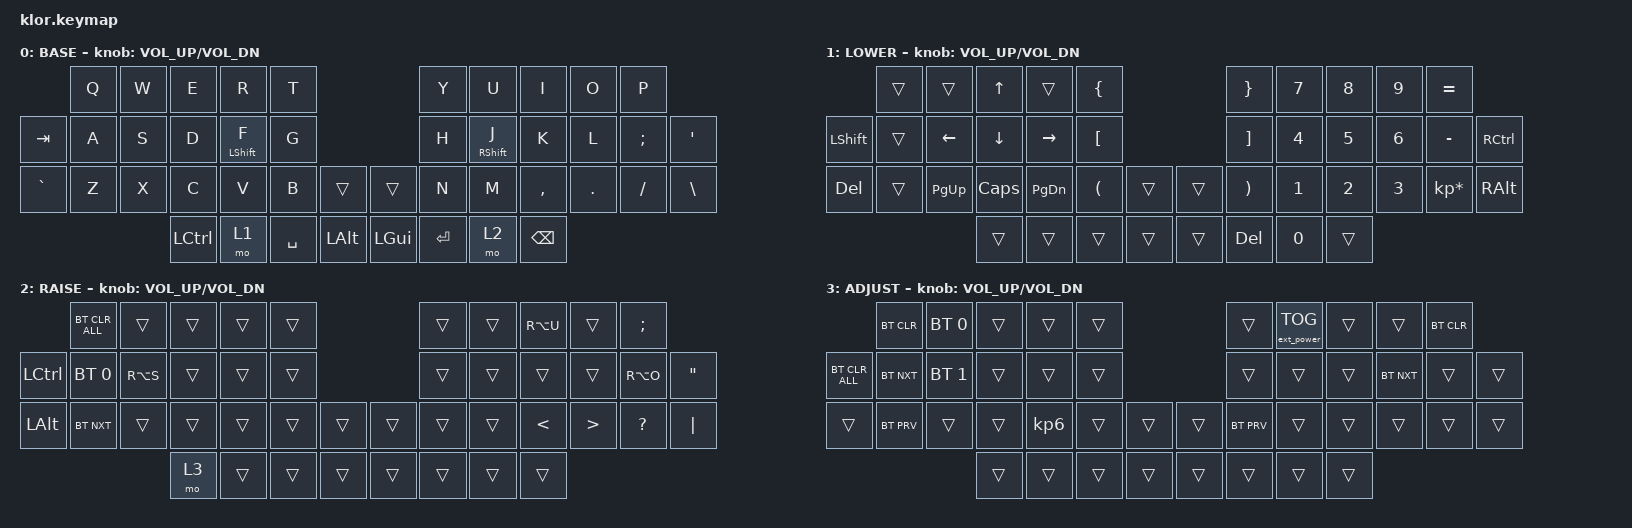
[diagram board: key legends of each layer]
//                               █         █    █            ▄▄▄▀▀▀▀▀▀▄▄▄        █▀▀▀▀▀▀▀▀▀▀█
//                               █        █     █          ▄▀            ▀▄      █          █
//                               █       █      █        ▄▀                ▀▄    █          █
//                               █      █       █        █                  █    █          █
//                               █     █        █       █                    █   █          █
//                               █    █         █       █                    █   █▄▄▄▄▄▄▄▄▄▄█
//                               █   █ █        █       █                    █   █      █
//                               █  █   █       █        █                  █    █       █
//                               █ █     █      █        ▀▄                ▄▀    █        █
//                               ██       █     █          ▀▄            ▄▀      █         █
//                               █         █    █▄▄▄▄▄▄▄▄    ▀▀▀▄▄▄▄▄▄▀▀▀        █          █
//
// ▄▄▄▄▄▄▄▄▄▄▄▄▄▄▄▄▄▄▄▄▄▄▄▄▄▄▄▄▄▄▄▄▄▄▄▄▄▄▄▄▄▄▄▄▄▄▄▄▄▄▄▄▄▄▄▄▄▄▄▄▄▄▄▄▄▄▄▄▄▄▄▄▄▄▄▄▄▄▄▄▄▄▄▄▄▄▄▄▄▄▄▄▄▄▄▄▄▄▄▄▄▄▄▄▄▄▄▄▄▄▄▄▄▄▄▄▄▄▄▄▄▄▄▄▄

#include <behaviors.dtsi>
#include <dt-bindings/zmk/bt.h>
#include <dt-bindings/zmk/ext_power.h>
#include <dt-bindings/zmk/keys.h>

#define BASE   0
#define LOWER  1
#define RAISE  2
#define ADJUST 3

/ {
    behaviors {
        hm: homerow_mods {
            compatible = "zmk,behavior-hold-tap";
            label = "HOMEROW_MODS";
            #binding-cells = <2>;
            tapping-term-ms = <150>;
            quick_tap_ms = <0>;
            flavor = "tap-preferred";
            bindings = <&kp>, <&kp>;
        };
    };

    combos {
        compatible = "zmk,combos";

        combo_esc {
            timeout-ms = <50>;
            key-positions = <0 1>;
            bindings = <&kp ESC>;
        };

        reset_bootloader {
            bindings = <&bootloader>;
            key-positions = <8 9 20 19>;
        };
    };

    keymap {
        compatible = "zmk,keymap";

        // ▄▄▄▄▄▄▄▄▄▄▄▄▄▄▄▄▄▄▄▄▄▄▄▄▄▄▄▄▄▄▄▄▄▄▄▄▄▄▄▄▄▄▄▄▄▄▄▄▄▄▄▄▄▄▄▄▄▄▄▄▄▄▄▄▄▄▄▄▄▄▄▄▄▄▄▄▄▄▄▄▄▄▄▄▄▄▄▄▄▄▄▄▄▄▄▄▄▄▄▄▄▄▄▄▄▄▄▄▄▄▄▄▄▄▄▄▄▄▄▄▄▄▄▄▄▄▄▄▄▄▄▄▄▄▄▄▄▄▄▄▄▄

        base_layer {
            // ┌───────────────────────────────────────────────────────────┐

            label = "BASE";

            // └───────────────────────────────────────────────────────────┘
            /*           ┌─────────┬─────────┬─────────┬─────────┬─────────┐                    ┌─────────┬─────────┬─────────┬─────────┬─────────┐
             │    Q    │    W    │    F    │    P    │    G    │                    │    J    │    L    │    U    │    Y    │    ;    │   
   ┌─────────┼─────────┼─────────┼─────────┼─────────┼─────────┤                    ├─────────┼─────────┼─────────┼─────────┼─────────┼─────────┐
   │   TAB   │    A    │    R    │    S    │    T    │    D    │                    │    H    │    N    │    E    │    I    │    O    │    "    │
   ├─────────┼─────────┼─────────┼─────────┼─────────┼─────────┤╭────────╮╭────────╮├─────────┼─────────┼─────────┼─────────┼─────────┼─────────┤
   │   DEL   │    Z    │    X    │    C    │    V    │    B    ││  MUTE  ││PLY/PSE ││    K    │    M    │    ,    │    .    │    /    │    \    │
   └─────────┴─────────┴─────────┼─────────┼─────────┼─────────┼╰────────╯╰────────╯┼─────────┼─────────┼─────────┼─────────┴─────────┴─────────┘
                                 │  CTRL   │  LOWER  │  SPACE  │   ALT   ││ CMD/WIN │  ENTER  │  RAISE  │  BSPCE  │  
                                 └─────────┴─────────┴─────────┴─────────┘└─────────┴─────────┴─────────┴─────────┘ */

            bindings = <
           &kp Q  &kp W  &kp E      &kp R             &kp T                          &kp Y    &kp U        &kp I      &kp O    &kp P
&kp TAB    &kp A  &kp S  &kp D      &hm LEFT_SHIFT F  &kp G                          &kp H    &hm RSHFT J  &kp K      &kp L    &kp SEMICOLON  &kp SQT
&kp GRAVE  &kp Z  &kp X  &kp C      &kp V             &kp B      &trans    &trans    &kp N    &kp M        &kp COMMA  &kp DOT  &kp FSLH       &kp BSLH
                         &kp LCTRL  &mo 1             &kp SPACE  &kp LALT  &kp LGUI  &kp RET  &mo 2        &kp BSPC
            >;

            sensor-bindings = <&inc_dec_kp C_VOL_UP C_VOL_DN>;
        };

        // ▄▄▄▄▄▄▄▄▄▄▄▄▄▄▄▄▄▄▄▄▄▄▄▄▄▄▄▄▄▄▄▄▄▄▄▄▄▄▄▄▄▄▄▄▄▄▄▄▄▄▄▄▄▄▄▄▄▄▄▄▄▄▄▄▄▄▄▄▄▄▄▄▄▄▄▄▄▄▄▄▄▄▄▄▄▄▄▄▄▄▄▄▄▄▄▄▄▄▄▄▄▄▄▄▄▄▄▄▄▄▄▄▄▄▄▄▄▄▄▄▄▄▄▄▄▄▄▄▄▄▄▄▄▄▄▄▄▄▄▄▄▄

        lower_layer {
            // ┌───────────────────────────────────────────────────────────┐

            label = "LOWER";

            // └───────────────────────────────────────────────────────────┘
            /*           ┌─────────┬─────────┬─────────┬─────────┬─────────┐                    ┌─────────┬─────────┬─────────┬─────────┬─────────┐
             │         │         │    UP   │         │    {    │                    │    }    │    7    │    8    │    9    │    +    │
   ┌─────────┼─────────┼─────────┼─────────┼─────────┼─────────┤                    ├─────────┼─────────┼─────────┼─────────┼─────────┼─────────┐
   │         │         │   LEFT  │  DOWN   │  RIGHT  │    [    │                    │    ]    │    4    │    5    │    6    │    -    │         │
   ├─────────┼─────────┼─────────┼─────────┼─────────┼─────────┤╭────────╮╭────────╮├─────────┼─────────┼─────────┼─────────┼─────────┼─────────┤
   │         │         │   P UP  │ C LOCK  │ P DOWN  │    (    ││        ││        ││    )    │    1    │    2    │    3    │    *    │         │
   └─────────┴─────────┴─────────┼─────────┼─────────┼─────────┼╰────────╯╰────────╯┼─────────┼─────────┼─────────┼─────────┴─────────┴─────────┘
                                 │         │         │         │         ││         │         │    0    │         │  
                                 └─────────┴─────────┴─────────┴─────────┘└─────────┴─────────┴─────────┴─────────┘ */

            bindings = <
                &trans  &trans     &kp UP    &trans     &kp LBRC                  &kp RBRC    &kp N7        &kp N8        &kp N9        &kp EQUAL
&kp LEFT_SHIFT  &trans  &kp LEFT   &kp DOWN  &kp RIGHT  &kp LBKT                  &kp RBKT    &kp NUMBER_4  &kp N5        &kp NUMBER_6  &kp MINUS        &kp RCTRL
&kp DEL         &trans  &kp PG_UP  &kp CAPS  &kp PG_DN  &kp LPAR  &trans  &trans  &kp RPAR    &kp NUMBER_1  &kp NUMBER_2  &kp NUMBER_3  &kp KP_MULTIPLY  &kp RIGHT_ALT
                                   &trans    &trans     &trans    &trans  &trans  &kp DELETE  &kp N0        &trans
            >;

            sensor-bindings = <&inc_dec_kp C_VOL_UP C_VOL_DN>;
        };

        // ▄▄▄▄▄▄▄▄▄▄▄▄▄▄▄▄▄▄▄▄▄▄▄▄▄▄▄▄▄▄▄▄▄▄▄▄▄▄▄▄▄▄▄▄▄▄▄▄▄▄▄▄▄▄▄▄▄▄▄▄▄▄▄▄▄▄▄▄▄▄▄▄▄▄▄▄▄▄▄▄▄▄▄▄▄▄▄▄▄▄▄▄▄▄▄▄▄▄▄▄▄▄▄▄▄▄▄▄▄▄▄▄▄▄▄▄▄▄▄▄▄▄▄▄▄

        raise_layer {
            // ┌───────────────────────────────────────────────────────────┐

            label = "RAISE";

            // └───────────────────────────────────────────────────────────┘
            /*           ┌─────────┬─────────┬─────────┬─────────┬─────────┐                    ┌─────────┬─────────┬─────────┬─────────┬─────────┐
             │         │         │         │         │         │                    │         │         │    Ü    │         │         │
   ┌─────────┼─────────┼─────────┼─────────┼─────────┼─────────┤                    ├─────────┼─────────┼─────────┼─────────┼─────────┼─────────┐
   │    Ä    │         │    ß    │         │         │         │                    │         │         │         │         │    Ö    │         │
   ├─────────┼─────────┼─────────┼─────────┼─────────┼─────────┤╭────────╮╭────────╮├─────────┼─────────┼─────────┼─────────┼─────────┼─────────┤
   │         │         │         │         │         │         ││        ││        ││         │         │         │         │         │         │
   └─────────┴─────────┴─────────┼─────────┼─────────┼─────────┼╰────────╯╰────────╯┼─────────┼─────────┼─────────┼─────────┴─────────┴─────────┘
                                 │ ADJUST  │         │         │         ││         │         │         │         │  
                                 └─────────┴─────────┴─────────┴─────────┘└─────────┴─────────┴─────────┴─────────┘ */

            bindings = <
              &bt BT_CLR_ALL  &trans     &trans  &trans  &trans                  &trans  &trans  &kp RA(U)      &trans            &kp SEMICOLON
&kp LCTRL     &bt BT_SEL 0    &kp RA(S)  &trans  &trans  &trans                  &trans  &trans  &trans         &trans            &kp RA(O)      &kp DOUBLE_QUOTES
&kp LEFT_ALT  &bt BT_NXT      &trans     &trans  &trans  &trans  &trans  &trans  &trans  &trans  &kp LESS_THAN  &kp GREATER_THAN  &kp QUESTION   &kp PIPE
                                         &mo 3   &trans  &trans  &trans  &trans  &trans  &trans  &trans
            >;

            sensor-bindings = <&inc_dec_kp C_VOL_UP C_VOL_DN>;
        };

        // ▄▄▄▄▄▄▄▄▄▄▄▄▄▄▄▄▄▄▄▄▄▄▄▄▄▄▄▄▄▄▄▄▄▄▄▄▄▄▄▄▄▄▄▄▄▄▄▄▄▄▄▄▄▄▄▄▄▄▄▄▄▄▄▄▄▄▄▄▄▄▄▄▄▄▄▄▄▄▄▄▄▄▄▄▄▄▄▄▄▄▄▄▄▄▄▄▄▄▄▄▄▄▄▄▄▄▄▄▄▄▄▄▄▄▄▄▄▄▄▄▄▄▄▄▄

        adjust_layer {
            // ┌───────────────────────────────────────────────────────────┐

            label = "ADJUST";

            // └───────────────────────────────────────────────────────────┘
            /*           ┌─────────┬─────────┬─────────┬─────────┬─────────┐                    ┌─────────┬─────────┬─────────┬─────────┬─────────┐
             │         │         │         │         │         │                    │         │         │         │         │         │
   ┌─────────┼─────────┼─────────┼─────────┼─────────┼─────────┤                    ├─────────┼─────────┼─────────┼─────────┼─────────┼─────────┐
   │         │         │         │         │         │         │                    │         │         │         │         │         │         │
   ├─────────┼─────────┼─────────┼─────────┼─────────┼─────────┤╭────────╮╭────────╮├─────────┼─────────┼─────────┼─────────┼─────────┼─────────┤
   │         │         │         │         │         │         ││        ││        ││         │         │         │         │         │         │
   └─────────┴─────────┴─────────┼─────────┼─────────┼─────────┼╰────────╯╰────────╯┼─────────┼─────────┼─────────┼─────────┴─────────┴─────────┘
                                 │         │         │         │         ││         │         │         │         │  
                                 └─────────┴─────────┴─────────┴─────────┘└─────────┴─────────┴─────────┴─────────┘ */

            bindings = <
                &bt BT_CLR  &bt BT_SEL 0  &trans  &trans     &trans                  &trans      &ext_power EP_TOG  &trans  &trans      &bt BT_CLR
&bt BT_CLR_ALL  &bt BT_NXT  &bt BT_SEL 1  &trans  &trans     &trans                  &trans      &trans             &trans  &bt BT_NXT  &trans      &trans
&trans          &bt BT_PRV  &trans        &trans  &kp KP_N6  &trans  &trans  &trans  &bt BT_PRV  &trans             &trans  &trans      &trans      &trans
                                          &trans  &trans     &trans  &trans  &trans  &trans      &trans             &trans
            >;

            sensor-bindings = <&inc_dec_kp C_VOL_UP C_VOL_DN>;
        };
    };
};
